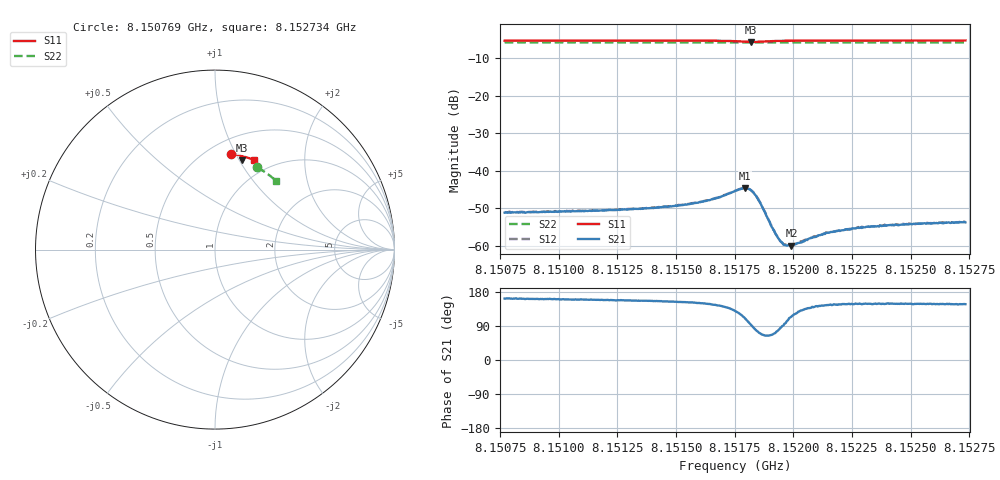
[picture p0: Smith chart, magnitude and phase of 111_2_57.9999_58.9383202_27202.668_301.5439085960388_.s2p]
#  HZ  S  RI  R  50.00
! Rohde & Schwarz Vector Network Analyzer
! Rohde-Schwarz,ZNB20-2Port,1311601062101988,3.16
! Created: UTC 3/21/2024, 12:55:13 AM
! freq[Hz]  re:S11  im:S11  re:S21  im:S21  re:S12  im:S12  re:S22  im:S22
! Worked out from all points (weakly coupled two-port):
!   401 points, 8.150769 GHz to 8.152734 GHz, reference 50 ohm
!   highest |S21| = -44.66 dB at 8.151795 GHz (marker M1); lowest = -60.0 dB at 8.151992 GHz (marker M2)
!   lowest |S11| = -5.7 dB at 8.15182 GHz (marker M3), VSWR 3.17, Z = 37.7 + j51.4 ohm
!   |S11| at or under -10 dB: nowhere
!   |S22| runs from -5.8 to -5.8 dB; largest |S21 - S12| = 0.00015
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8.1507688e9  0.0868 0.5352  -0.00262 0.000844  -0.00266 0.000921  0.2359 0.4574
8.1510979e9  0.11 0.5313  -0.00271 0.001  -0.00272 0.00106  0.2545 0.447
8.151427e9  0.1342 0.5261  -0.00294 0.00134  -0.00297 0.0014  0.2725 0.4356
8.1516038e9  0.1484 0.5213  -0.0033 0.00191  -0.0033 0.00198  0.2819 0.4293
8.1516775e9  0.1552 0.5172  -0.00354 0.00255  -0.0035 0.00258  0.2859 0.4264
8.1517512e9  0.1612 0.5085  -0.00343 0.00413  -0.00341 0.00419  0.2897 0.4235
8.1517954e9  0.1582 0.4995  -0.00189 0.00553  -0.00183 0.00562  0.2916 0.4215
8.15182e9  0.1517 0.4977  -0.000211 0.00545  -0.00015 0.0055  0.2925 0.4206
8.1518347e9  0.1481 0.4995  0.000634 0.00482  0.000717 0.00488  0.2931 0.4203
8.1518494e9  0.1458 0.5027  0.00112 0.00401  0.00122 0.00407  0.2938 0.4199
8.1518691e9  0.1454 0.5074  0.00126 0.00293  0.00133 0.00294  0.2949 0.4196
8.1519133e9  0.15 0.5139  0.000627 0.00156  0.000659 0.0015  0.2975 0.4179
8.1519379e9  0.1533 0.5155  0.000218 0.00121  0.000237 0.00123  0.2989 0.417
8.1519526e9  0.1551 0.516  1.21e-05 0.0011  6.53e-05 0.0011  0.2996 0.4166
8.1519624e9  0.1563 0.5162  -0.000105 0.00102  -0.000121 0.00103  0.3001 0.4162
8.1519919e9  0.1597 0.5166  -0.000416 0.000912  -0.000395 0.000942  0.3017 0.4149
8.1520803e9  0.1681 0.5158  -0.000985 0.000818  -0.000949 0.000865  0.3064 0.4114
8.1521491e9  0.1739 0.5148  -0.00122 0.000855  -0.00121 0.000876  0.3098 0.4088
8.1522227e9  0.1797 0.5132  -0.00139 0.000897  -0.00138 0.000875  0.3135 0.4057
8.152267e9  0.1827 0.5121  -0.00147 0.000882  -0.00145 0.000911  0.3157 0.4041
8.1524094e9  0.1931 0.509  -0.0016 0.000991  -0.00162 0.00101  0.3228 0.3983
8.1527336e9  0.215 0.5009  -0.00172 0.0011  -0.00173 0.00113  0.3384 0.3844
